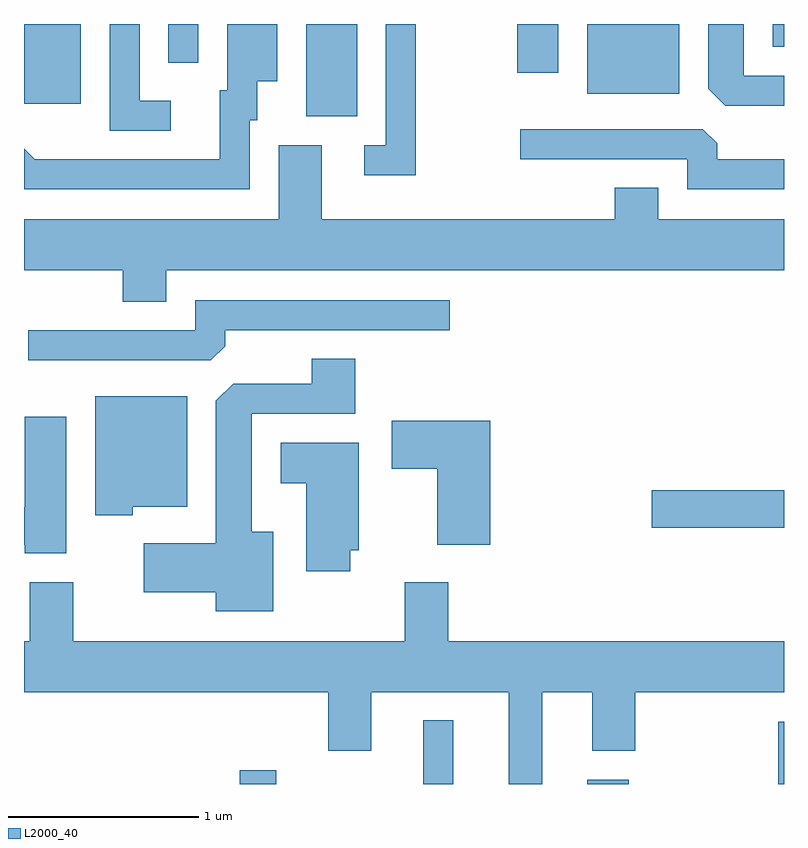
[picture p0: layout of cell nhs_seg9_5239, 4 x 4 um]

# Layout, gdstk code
import gdstk
lib = gdstk.Library(unit=1e-6, precision=1e-09)
def R(c, l, rs):  # rectangles x0, y0, x1, y1
    for r in rs: c.add(gdstk.rectangle(r[:2], r[2:], *l))
def P(c, l, *ps):  # polygons
    for p in ps: c.add(gdstk.Polygon(p, *l))
L2000_40 = (2000, 40)

nhs_seg9_5239 = lib.new_cell('nhs_seg9_5239')
R(nhs_seg9_5239, L2000_40, [(340.746,2002.432,340.939,2002.504), (341.711,2002.432,341.869,2002.768), (342.576,2002.432,342.794,2002.454), (343.581,2002.432,343.611,2002.759), (342.916,2003.781,343.611,2003.979), (341.096,2005.946,341.364,2006.432), (339.611,2006.011,339.909,2006.432), (342.576,2006.066,343.059,2006.432), (342.206,2006.176,342.424,2006.432), (340.371,2006.228,340.529,2006.432), (343.551,2006.311,343.611,2006.432)])
P(nhs_seg9_5239, L2000_40, [(343.611,2006.159),(343.399,2006.159),(343.399,2006.432),(343.211,2006.432),(343.211,2006.092),(343.302,2006.001),(343.611,2006.001)],
  [(340.383,2006.029),(340.219,2006.029),(340.219,2006.432),(340.061,2006.432),(340.061,2005.871),(340.383,2005.871)],
  [(341.674,2006.432),(341.516,2006.432),(341.516,2005.794),(341.403,2005.794),(341.403,2005.636),(341.674,2005.636)],
  [(340.799,2005.926),(340.839,2005.926),(340.839,2006.131),(340.944,2006.131),(340.944,2006.432),(340.681,2006.432),(340.681,2006.084),(340.641,2006.084),(340.641,2005.719),(339.667,2005.719),(339.611,2005.775),(339.611,2005.561),(340.799,2005.561)],
  [(343.611,2005.719),(343.259,2005.719),(343.259,2005.804),(343.184,2005.879),(342.223,2005.879),(342.223,2005.721),(343.101,2005.721),(343.101,2005.561),(343.611,2005.561)],
  [(340.359,2005.136),(343.611,2005.136),(343.611,2005.404),(342.949,2005.404),(342.949,2005.569),(342.721,2005.569),(342.721,2005.404),(341.179,2005.404),(341.179,2005.794),(340.951,2005.794),(340.951,2005.404),(339.611,2005.404),(339.611,2005.136),(340.131,2005.136),(340.131,2004.971),(340.359,2004.971)],
  [(340.669,2004.737),(340.669,2004.821),(341.853,2004.821),(341.853,2004.979),(340.511,2004.979),(340.511,2004.819),(339.633,2004.819),(339.633,2004.661),(340.594,2004.661)],
  [(340.924,2003.759),(340.809,2003.759),(340.809,2004.381),(341.354,2004.381),(341.354,2004.669),(341.126,2004.669),(341.126,2004.539),(340.712,2004.539),(340.621,2004.449),(340.621,2003.699),(340.241,2003.699),(340.241,2003.441),(340.621,2003.441),(340.621,2003.341),(340.924,2003.341)],
  [(340.184,2003.891),(340.469,2003.891),(340.469,2004.474),(339.986,2004.474),(339.986,2003.846),(340.184,2003.846)],
  [(339.834,2004.364),(339.616,2004.364),(339.616,2003.889),(339.611,2003.889),(339.611,2003.691),(339.616,2003.691),(339.616,2003.646),(339.834,2003.646)],
  [(342.064,2004.344),(341.546,2004.344),(341.546,2004.091),(341.786,2004.091),(341.786,2003.691),(342.064,2003.691)],
  [(341.329,2003.661),(341.374,2003.661),(341.374,2004.229),(340.961,2004.229),(340.961,2004.016),(341.096,2004.016),(341.096,2003.551),(341.329,2003.551)],
  [(342.339,2002.916),(342.601,2002.916),(342.601,2002.606),(342.829,2002.606),(342.829,2002.916),(343.611,2002.916),(343.611,2003.184),(341.844,2003.184),(341.844,2003.494),(341.616,2003.494),(341.616,2003.184),(339.869,2003.184),(339.869,2003.494),(339.641,2003.494),(339.641,2003.184),(339.611,2003.184),(339.611,2002.916),(341.211,2002.916),(341.211,2002.606),(341.439,2002.606),(341.439,2002.916),(342.161,2002.916),(342.161,2002.432),(342.339,2002.432)])

lib.write_gds('nhs_seg9_5239.gds')
